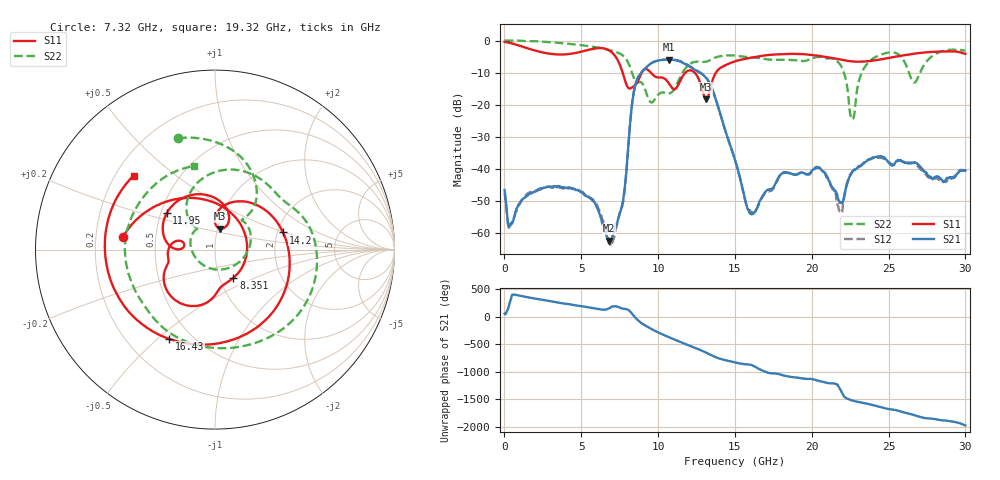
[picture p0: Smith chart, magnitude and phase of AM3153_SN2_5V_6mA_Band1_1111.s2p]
!Agilent Technologies,E8364B,MY43040894,A.07.50.67
!Agilent E8364B: A.07.50.67
!Date: Tuesday, May 12, 2020 09:47:46
!Correction: S11(Full 2 Port(1,2))
!S21(Full 2 Port(1,2))
!S12(Full 2 Port(1,2))
!S22(Full 2 Port(1,2))
!S2P File: Measurements: S11, S21, S12, S22:
# Hz S  dB  R 50
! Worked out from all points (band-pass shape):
!   1601 points, 10 MHz to 30 GHz, reference 50 ohm
!   highest |S21| = -5.97 dB at 10.71 GHz (marker M1); lowest = -62.6 dB at 6.795 GHz (marker M2)
!   |S21| within 3 dB of the highest: 9.116 GHz to 12.33 GHz (3.215 GHz wide, 30 % of centre)
!   lowest |S11| = -18.4 dB at 13.13 GHz (marker M3), VSWR 1.27, Z = 51.4 + j12.3 ohm
!   |S11| at or under -10 dB: 7.69 GHz to 8.937 GHz (1.248 GHz wide, 15 % of centre); 9.522 GHz to 11.79 GHz (2.264 GHz wide, 21.3 % of centre); 12.38 GHz to 13.77 GHz (1.388 GHz wide, 10.6 % of centre)
!   |S22| runs from -24.7 to 0.0 dB; largest |S21 - S12| = 0.01
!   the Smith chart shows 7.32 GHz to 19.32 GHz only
!   S11 on the Smith chart (normalised r, x): 7.32 GHz: 0.32, +0.06; 8.351 GHz: 1.16, -0.38; 11.95 GHz: 0.54, +0.25; 14.2 GHz: 2.15, +0.48; 16.43 GHz: 0.38, -0.55; 19.32 GHz: 0.27, +0.36
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1e7  -0.45 -6.2  -46.72 59.2  -47.56 117.7  0.01 -2.0
9.471875e8  -1.56 -83.4  -51.09 28.5  -51.35 28.2  -0.05 -31.3
2.146788e9  -3.35 -168.8  -46.68 -34.4  -46.82 -32.7  -0.25 -70.8
3.665031e9  -4.37 95.8  -45.74 -107.0  -45.94 -105.8  -0.82 -119.5
5.014581e9  -3.46 6.2  -47.41 -164.9  -47.28 -165.6  -1.47 -162.9
6.795238e9  -3.03 -132.2  -62.55 154.5  -63.29 155.5  -2.93 133.0
7.320062e9  -5.70 172.1  -57.34 -169.4  -57.31 -175.3  -3.68 108.3
8.350969e9  -14.53 -56.9  -18.12 41.8  -18.06 41.7  -10.81 46.4
9.363131e9  -9.26 -144.0  -7.81 171.0  -7.78 170.9  -18.09 -57.9
1.001916e10  -11.55 -168.1  -6.23 75.3  -6.21 75.7  -16.84 162.2
1.071268e10  -13.47 166.4  -5.97 -10.9  -5.90 -10.7  -16.53 127.2
1.194977e10  -9.46 143.0  -7.86 -154.6  -7.65 -154.6  -7.79 98.2
1.313062e10  -18.36 76.7  -11.73 67.8  -11.56 66.5  -6.62 37.0
1.419902e10  -8.16 14.1  -25.38 -56.3  -25.39 -57.8  -4.79 -10.6
1.5005e10  -6.50 -46.4  -37.31 -108.4  -37.29 -109.7  -4.70 -48.3
1.642952e10  -5.05 -117.2  -52.45 153.9  -52.52 150.9  -5.44 -110.5
1.931606e10  -4.25 137.7  -41.26 -37.5  -41.14 -36.1  -6.37 104.3
2.000958e10  -4.53 111.8  -40.64 -52.4  -40.90 -55.6  -5.64 47.9
2.132164e10  -5.48 57.0  -45.76 -130.1  -46.11 -133.9  -5.56 -76.3
2.263371e10  -6.52 -9.1  -41.16 -82.6  -41.06 -86.3  -24.69 62.1
2.501416e10  -5.45 -128.8  -38.26 121.0  -37.97 119.5  -3.73 -171.8
3e10  -4.18 81.4  -40.59 -177.8  -40.78 -179.0  -3.16 95.4
